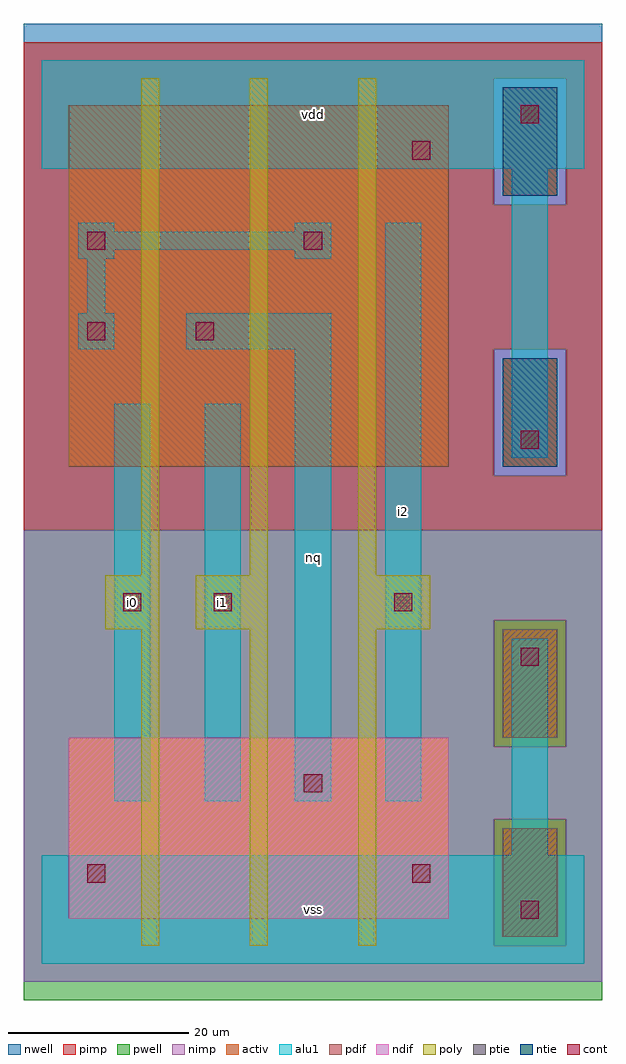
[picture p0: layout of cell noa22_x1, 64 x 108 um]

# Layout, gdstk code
import gdstk
lib = gdstk.Library(unit=1e-6, precision=1e-09)
def R(c, l, rs):  # rectangles x0, y0, x1, y1
    for r in rs: c.add(gdstk.rectangle(r[:2], r[2:], *l))
def A(c, l, x, y, w, h, nx, ny, dx, dy):  # array of equal rectangles
    R(c, l, [(x+i*dx, y+j*dy, x+i*dx+w, y+j*dy+h) for i in range(nx) for j in range(ny)])
ndif = (3, 0)
pdif = (4, 0)
ntie = (5, 0)
ptie = (6, 0)
cont = (25, 0)
pwell = (41, 0)
nwell = (42, 0)
activ = (43, 0)
pimp = (44, 0)
nimp = (45, 0)
poly = (46, 0)
alu1 = (49, 0)

noa22_x1 = lib.new_cell('noa22_x1')
R(noa22_x1, ndif, [(3,5,45,25)])
R(noa22_x1, pdif, [(3,55,45,95)])
R(noa22_x1, ntie, [(51,55,57,67), (51,85,57,97)])
R(noa22_x1, ptie, [(51,3,57,15), (51,25,57,37)])
R(noa22_x1, cont, [(53,5,55,7), (5,9,7,11), (41,9,43,11), (29,19,31,21), (53,33,55,35), (9,39,11,41), (19,39,21,41), (39,39,41,41), (53,57,55,59), (5,69,7,71), (17,69,19,71), (5,79,7,81), (29,79,31,81), (41,89,43,91), (53,93,55,95)])
R(noa22_x1, pwell, [(-2,-4,62,48)])
R(noa22_x1, nwell, [(-2,48,62,104)])
A(noa22_x1, activ, 51, 25, 6, 12, 1, 3, 0, 30)
R(noa22_x1, activ, [(51,3,57,15), (3,5,45,25), (3,55,45,95)])
R(noa22_x1, pimp, [(50,2,58,16), (50,24,58,38), (-2,48,62,54), (-2,54,50,68), (58,54,62,68), (-2,68,62,84), (-2,84,50,98), (58,84,62,98), (-2,98,62,102)])
R(noa22_x1, nimp, [(-2,-2,62,2), (-2,2,50,16), (58,2,62,16), (-2,16,62,24), (-2,24,50,38), (58,24,62,38), (-2,38,62,48), (50,54,58,68), (50,84,58,98)])
A(noa22_x1, poly, 11, 2, 2, 35, 3, 1, 12, 0)
A(noa22_x1, poly, 11, 43, 2, 55, 3, 1, 12, 0)
R(noa22_x1, poly, [(7,37,13,43), (17,37,25,43), (35,37,43,43)])
R(noa22_x1, alu1, [(0,0,60,12), (52,12,56,36), (8,18,12,62), (18,18,22,62), (28,18,32,68), (38,18,42,82), (52,56,56,88), (4,68,8,72), (16,68,32,72), (5,72,7,78), (4,78,8,79), (28,78,32,79), (4,79,32,81), (4,81,8,82), (28,81,32,82), (0,88,60,100)])
noa22_x1.add(gdstk.Label('i0', (10,40), layer=49, texttype=0))
noa22_x1.add(gdstk.Label('i1', (20,40), layer=49, texttype=0))
noa22_x1.add(gdstk.Label('vss', (30,6), layer=49, texttype=0))
noa22_x1.add(gdstk.Label('nq', (30,45), layer=49, texttype=0))
noa22_x1.add(gdstk.Label('i2', (40,50), layer=49, texttype=0))
noa22_x1.add(gdstk.Label('vdd', (30,94), layer=49, texttype=0))

lib.write_gds('noa22_x1.gds')
